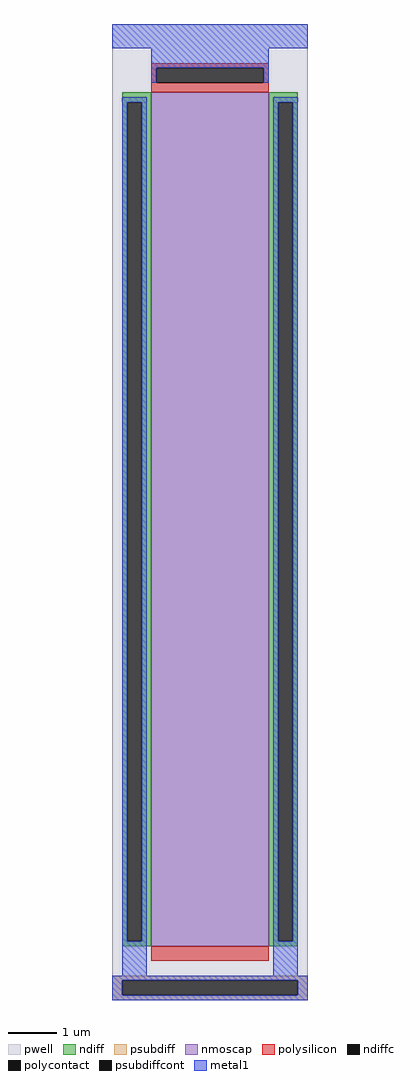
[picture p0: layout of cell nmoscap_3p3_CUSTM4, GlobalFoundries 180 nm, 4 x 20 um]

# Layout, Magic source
magic
tech gf180mcuD
<< pwell >>
rect -140 290 -60 320
rect -140 288 -136 290
rect -126 288 -74 290
rect -64 288 -60 290
rect -140 -80 -60 288
<< ndiff >>
rect -136 288 -124 292
rect -136 -56 -134 288
rect -128 -56 -124 288
rect -136 -58 -124 -56
rect -76 288 -64 292
rect -76 -56 -72 288
rect -66 -56 -64 288
rect -76 -58 -64 -56
<< ndiffc >>
rect -134 -56 -128 288
rect -72 -56 -66 288
<< psubdiff >>
rect -140 -72 -60 -70
rect -140 -78 -136 -72
rect -64 -78 -60 -72
rect -140 -80 -60 -78
<< psubdiffcont >>
rect -136 -78 -64 -72
<< nmoscap >>
rect -124 -58 -76 292
<< polysilicon >>
rect -124 302 -76 304
rect -124 296 -122 302
rect -78 296 -76 302
rect -124 292 -76 296
rect -124 -64 -76 -58
<< polycontact >>
rect -122 296 -78 302
<< metal1 >>
rect -140 310 -60 320
rect -124 302 -76 310
rect -124 296 -122 302
rect -78 296 -76 302
rect -136 288 -126 290
rect -136 -56 -134 288
rect -128 -56 -126 288
rect -136 -70 -126 -56
rect -74 288 -64 290
rect -74 -56 -72 288
rect -66 -56 -64 288
rect -74 -70 -64 -56
rect -140 -72 -60 -70
rect -140 -78 -136 -72
rect -64 -78 -60 -72
rect -140 -80 -60 -78
<< properties >>
string gencell nmoscap_3p3
string library gf180mcu
string parameters w 17.5 l 2.4 m 1 nf 1 diffcov 100 polycov 100 guard 0 glc 0 grc 0 gtc 0 gbc 0 tbcov 100 rlcov 100 topc 1 botc 0 poverlap 0 doverlap 1 lmin 0.28 wmin 0.22 class mosfet full_metal 0 compatible {nmoscap_3p3 nmoscap_6p0}
<< end >>
